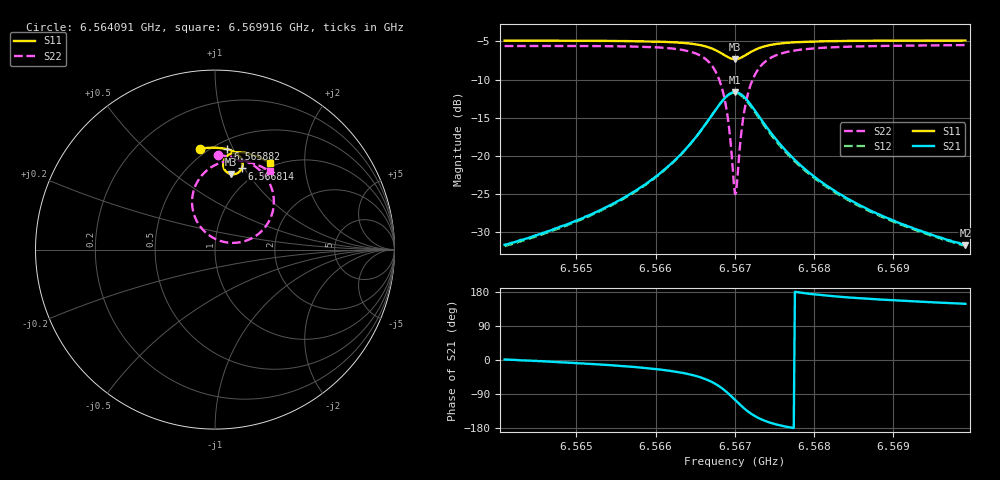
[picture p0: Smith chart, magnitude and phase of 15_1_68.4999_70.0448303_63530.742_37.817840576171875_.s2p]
#  HZ  S  RI  R  50.00
! Rohde & Schwarz Vector Network Analyzer
! Rohde-Schwarz,ZNB20-2Port,1311601062101988,3.16
! Created: UTC 3/20/2024, 5:04:19 PM
! freq[Hz]  re:S11  im:S11  re:S21  im:S21  re:S12  im:S12  re:S22  im:S22
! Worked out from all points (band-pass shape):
!   401 points, 6.564091 GHz to 6.569916 GHz, reference 50 ohm
!   highest |S21| = -11.64 dB at 6.567003 GHz (marker M1); lowest = -31.7 dB at 6.569916 GHz (marker M2)
!   |S21| within 3 dB of the highest: 6.566713 GHz to 6.567295 GHz (582.3 kHz wide, 0.00887 % of centre)
!   lowest |S11| = -7.3 dB at 6.567003 GHz (marker M3), VSWR 2.51, Z = 40.4 + j41.7 ohm
!   |S11| at or under -10 dB: nowhere
!   |S22| runs from -25.0 to -5.5 dB; largest |S21 - S12| = 0.012
!   S11 on the Smith chart (normalised r, x): 6.564091 GHz: 0.45, +0.76; 6.565882 GHz: 0.58, +0.95; 6.566814 GHz: 0.83, +0.97; 6.569916 GHz: 0.94, +1.35
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6.5640913e9  -0.0833 0.5628  0.0262 0.000547  0.0256 0.000142  0.0156 0.5245
6.5650669e9  -0.00453 0.568  0.0384 -0.00613  0.0379 -0.00668  0.1047 0.5144
6.5658823e9  0.069 0.5589  0.0614 -0.024  0.0604 -0.0247  0.2022 0.4769
6.5660425e9  0.0851 0.554  0.0689 -0.0319  0.068 -0.0326  0.2269 0.4608
6.5663628e9  0.1205 0.5361  0.0889 -0.062  0.0874 -0.0632  0.2852 0.4013
6.5665812e9  0.145 0.5094  0.1017 -0.1082  0.0997 -0.1101  0.3235 0.3123
6.5667123e9  0.154 0.4813  0.0978 -0.1571  0.0941 -0.1598  0.323 0.219
6.5668142e9  0.1491 0.4522  0.072 -0.2071  0.0658 -0.2098  0.2791 0.1247
6.5669016e9  0.1289 0.4285  0.0208 -0.2461  0.0114 -0.2467  0.1862 0.0544
6.5669307e9  0.1186 0.423  -0.00286 -0.2539  -0.0128 -0.2531  0.1435 0.0415
6.5669889e9  0.0945 0.4197  -0.0552 -0.2555  -0.0658 -0.2512  0.0503 0.0427
6.5670035e9  0.0882 0.4206  -0.0686 -0.2526  -0.0788 -0.2475  0.0274 0.0491
6.5670326e9  0.0765 0.4246  -0.094 -0.243  -0.1033 -0.236  -0.0158 0.0687
6.5670908e9  0.0576 0.4394  -0.1351 -0.2116  -0.1416 -0.2021  -0.0829 0.129
6.5671345e9  0.0489 0.454  -0.1549 -0.182  -0.1591 -0.172  -0.1128 0.183
6.5671928e9  0.0452 0.4742  -0.1676 -0.1423  -0.1689 -0.1326  -0.1276 0.2536
6.5672656e9  0.0491 0.4958  -0.1674 -0.0999  -0.1665 -0.0916  -0.1195 0.3273
6.5675277e9  0.0882 0.5345  -0.1257 -0.0217  -0.1228 -0.0182  -0.0239 0.457
6.567979e9  0.1469 0.5421  -0.0746 0.00791  -0.0729 0.00902  0.0962 0.4965
6.5684013e9  0.1884 0.5347  -0.0517 0.0133  -0.0506 0.0138  0.1633 0.4925
6.5689546e9  0.2344 0.5189  -0.036 0.0144  -0.0351 0.0146  0.2253 0.476
6.5699156e9  0.3037 0.4834  -0.0222 0.0137  -0.0217 0.0139  0.3052 0.4366
